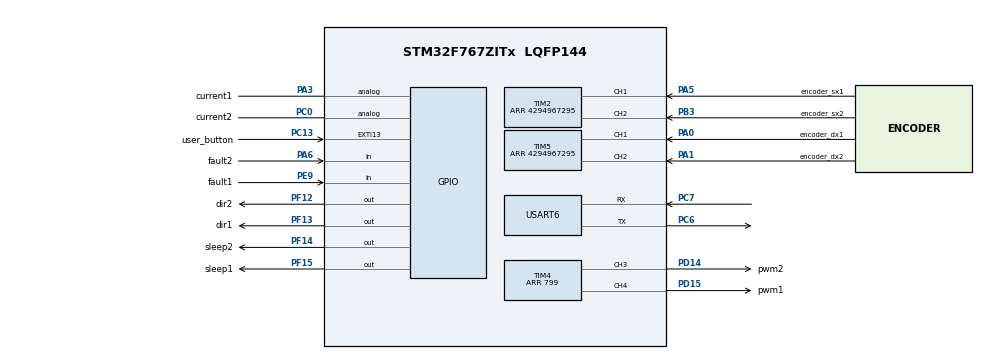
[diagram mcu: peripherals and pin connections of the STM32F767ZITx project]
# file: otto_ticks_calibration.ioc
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Mcu.Family=STM32F7
Mcu.Name=STM32F767ZITx
Mcu.Package=LQFP144
NVIC.EXTI15_10_IRQn=true\:0\:0\:false\:false\:true\:true\:true
NVIC.PriorityGroup=NVIC_PRIORITYGROUP_2
NVIC.TIM3_IRQn=true\:2\:1\:true\:true\:true\:1\:true\:true
NVIC.TIM6_DAC_IRQn=true\:2\:2\:true\:true\:true\:2\:true\:true
NVIC.USART6_IRQn=true\:1\:0\:true\:true\:true\:3\:true\:true
PA0/WKUP.GPIO_Label=encoder_dx1
PA0/WKUP.Signal=S_TIM5_CH1
PA1.GPIO_Label=encoder_dx2
PA1.Signal=S_TIM5_CH2
PA13.Mode=Serial_Wire
PA13.Signal=SYS_JTMS-SWDIO
PA14.Mode=Serial_Wire
PA14.Signal=SYS_JTCK-SWCLK
PA3.GPIO_Label=current1
PA3.Signal=GPIO_Analog
PA5.GPIO_Label=encoder_sx1
PA5.Signal=S_TIM2_CH1_ETR
PA6.GPIO_Label=fault2
PA6.Signal=GPIO_Input
PB3.GPIO_Label=encoder_sx2
PB3.Signal=S_TIM2_CH2
PC0.GPIO_Label=current2
PC0.Signal=GPIO_Analog
PC13.GPIO_Label=user_button
PC13.Signal=GPXTI13
PC6.Mode=Asynchronous
PC6.Signal=USART6_TX
PC7.Mode=Asynchronous
PC7.Signal=USART6_RX
PD14.GPIO_Label=pwm2
PD14.Signal=S_TIM4_CH3
PD15.GPIO_Label=pwm1
PD15.Signal=S_TIM4_CH4
PE9.GPIO_Label=fault1
PE9.Signal=GPIO_Input
PF12.GPIO_Label=dir2
PF12.Signal=GPIO_Output
PF13.GPIO_Label=dir1
PF13.Signal=GPIO_Output
PF14.GPIO_Label=sleep2
PF14.GPIO_ModeDefaultOutputPP=GPIO_MODE_OUTPUT_PP
PF14.GPIO_PuPd=GPIO_PULLUP
PF14.PinState=GPIO_PIN_SET
PF14.Signal=GPIO_Output
PF15.GPIO_Label=sleep1
PF15.GPIO_PuPd=GPIO_PULLUP
PF15.PinState=GPIO_PIN_SET
PF15.Signal=GPIO_Output
ProjectManager.HeapSize=0x200
ProjectManager.StackSize=0x400
ProjectManager.TargetToolchain=STM32CubeIDE
RCC.HSE_VALUE=25000000
RCC.HSI_VALUE=16000000
RCC.LSE_VALUE=32768
RCC.USBFreq_Value=96000000
RCC.VCOOutputFreq_Value=192000000
SH.S_TIM2_CH1_ETR.0=TIM2_CH1,Encoder_Interface
SH.S_TIM2_CH2.0=TIM2_CH2,Encoder_Interface
SH.S_TIM4_CH3.0=TIM4_CH3,PWM Generation3 CH3
SH.S_TIM4_CH4.0=TIM4_CH4,PWM Generation4 CH4
SH.S_TIM5_CH1.0=TIM5_CH1,Encoder_Interface
SH.S_TIM5_CH2.0=TIM5_CH2,Encoder_Interface
TIM2.EncoderMode=TIM_ENCODERMODE_TI12
TIM2.Period=4294967295
TIM3.Period=159
TIM3.Prescaler=999
TIM4.Channel-PWM\ Generation3\ CH3=TIM_CHANNEL_3
TIM4.Channel-PWM\ Generation4\ CH4=TIM_CHANNEL_4
TIM4.Period=799
TIM5.EncoderMode=TIM_ENCODERMODE_TI12
TIM5.Period=4294967295
TIM6.Period=799
TIM6.Prescaler=9999
USART6.Parity=PARITY_NONE
USART6.VirtualMode-Asynchronous=VM_ASYNC
USART6.WordLength=WORDLENGTH_8B
VP_TIM3_VS_ClockSourceINT.Mode=Internal
VP_TIM4_VS_ClockSourceINT.Mode=Internal
VP_TIM6_VS_ClockSourceINT.Mode=Enable_Timer
board=custom

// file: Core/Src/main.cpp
/* USER CODE BEGIN Header */
/**
 ******************************************************************************
 * @file           : main.c
 * @brief          : Main program body
 ******************************************************************************
 * @attention
 *
 * <h2><center>&copy; Copyright (c) 2019 STMicroelectronics.
 * All rights reserved.</center></h2>
 *
 * This software component is licensed by ST under BSD 3-Clause license,
 * the "License"; You may not use this file except in compliance with the
 * License. You may obtain a copy of the License at:
 *                        opensource.org/licenses/BSD-3-Clause
 *
 ******************************************************************************
 */
/* USER CODE END Header */

#include "main.h"

/* USER CODE BEGIN Includes */

#include "encoder.h"
#include "odometry.h"
#include "motor_controller.h"
#include "pid.h"
#include "communication_utils.h"
#include "constants.h"
/* USER CODE END Includes */

TIM_HandleTypeDef htim2;
TIM_HandleTypeDef htim3;
TIM_HandleTypeDef htim4;
TIM_HandleTypeDef htim5;
TIM_HandleTypeDef htim6;

UART_HandleTypeDef huart6;

/* USER CODE BEGIN PV */

//Odometry
Encoder right_encoder = Encoder(&htim5, RIGHT_WHEEL_CIRCUMFERENCE);
Encoder left_encoder = Encoder(&htim2, LEFT_TICKS_PER_METER);
Odometry odom = Odometry();
float left_velocity = 0;
float right_velocity = 0;

//PID
Pid left_pid(0, 0, 0);
Pid right_pid(0, 0, 0);
Pid cross_pid(0, 0, 0);
float left_setpoint;
float right_setpoint;
float cross_setpoint;
int left_dutycycle;
int right_dutycycle;

//MotorController
MotorController right_motor(sleep1_GPIO_Port,
sleep1_Pin,
                            dir1_GPIO_Port,
                            dir1_Pin,
                            &htim4,
                            TIM_CHANNEL_4);
MotorController left_motor(sleep2_GPIO_Port,
sleep2_Pin,
                           dir2_GPIO_Port,
                           dir2_Pin,
                           &htim4,
                           TIM_CHANNEL_3);

//Communication
uint8_t *tx_buffer;
uint8_t *rx_buffer;
velocity_msg input_msg;
ticks_msg output_msg;

//user button variables
int previous_millis = 0;
int current_millis = 0;
bool debounce = true;

//test stuff
float mode = 0;  //0 for setup, 1 go, 2 send data
int left_ticks = 0;
int right_ticks = 0;

/* USER CODE END PV */

void SystemClock_Config(void);
static void MX_GPIO_Init(void);
static void MX_TIM2_Init(void);
static void MX_TIM3_Init(void);
static void MX_TIM4_Init(void);
static void MX_TIM5_Init(void);
static void MX_USART6_UART_Init(void);
static void MX_TIM6_Init(void);
static void MX_NVIC_Init(void);

int main(void) {

  /* MCU Configuration--------------------------------------------------------*/

  /* Reset of all peripherals, Initializes the Flash interface and the Systick. */
  HAL_Init();

  /* Configure the system clock */
  SystemClock_Config();

  /* Initialize all configured peripherals */
  MX_GPIO_Init();
  MX_TIM2_Init();
  MX_TIM3_Init();
  MX_TIM4_Init();
  MX_TIM5_Init();
  MX_USART6_UART_Init();
  MX_TIM6_Init();

  /* Initialize interrupts */
  MX_NVIC_Init();
  /* USER CODE BEGIN 2 */

  left_encoder.Setup();
  right_encoder.Setup();

  left_motor.setup();
  right_motor.setup();
  left_motor.coast();
  right_motor.coast();

  left_pid.config(180, 200, 0);
  right_pid.config(185, 195, 0);
  cross_pid.config(50, 20, 0);

  tx_buffer = (uint8_t*) &output_msg;
  rx_buffer = (uint8_t*) &input_msg;

  //Enables UART RX interrupt
  HAL_UART_Receive_IT(&huart6, rx_buffer, 8);
  HAL_TIM_Base_Start_IT(&htim6);
  /* USER CODE END 2 */

  /* Infinite loop */
  while (1) {

  }
}

void SystemClock_Config(void) {
  RCC_OscInitTypeDef RCC_OscInitStruct = { 0 };
  RCC_ClkInitTypeDef RCC_ClkInitStruct = { 0 };
  RCC_PeriphCLKInitTypeDef PeriphClkInitStruct = { 0 };

  /** Configure the main internal regulator output voltage
   */
  __HAL_RCC_PWR_CLK_ENABLE();
  __HAL_PWR_VOLTAGESCALING_CONFIG(PWR_REGULATOR_VOLTAGE_SCALE3);
  /** Initializes the CPU, AHB and APB busses clocks
   */
  RCC_OscInitStruct.OscillatorType = RCC_OSCILLATORTYPE_HSI;
  RCC_OscInitStruct.HSIState = RCC_HSI_ON;
  RCC_OscInitStruct.HSICalibrationValue = RCC_HSICALIBRATION_DEFAULT;
  RCC_OscInitStruct.PLL.PLLState = RCC_PLL_NONE;
  if (HAL_RCC_OscConfig(&RCC_OscInitStruct) != HAL_OK) {
    Error_Handler();
  }
  /** Initializes the CPU, AHB and APB busses clocks
   */
  RCC_ClkInitStruct.ClockType = RCC_CLOCKTYPE_HCLK | RCC_CLOCKTYPE_SYSCLK
      | RCC_CLOCKTYPE_PCLK1 | RCC_CLOCKTYPE_PCLK2;
  RCC_ClkInitStruct.SYSCLKSource = RCC_SYSCLKSOURCE_HSI;
  RCC_ClkInitStruct.AHBCLKDivider = RCC_SYSCLK_DIV1;
  RCC_ClkInitStruct.APB1CLKDivider = RCC_HCLK_DIV1;
  RCC_ClkInitStruct.APB2CLKDivider = RCC_HCLK_DIV1;

  if (HAL_RCC_ClockConfig(&RCC_ClkInitStruct, FLASH_LATENCY_0) != HAL_OK) {
    Error_Handler();
  }
  PeriphClkInitStruct.PeriphClockSelection = RCC_PERIPHCLK_USART6;
  PeriphClkInitStruct.Usart6ClockSelection = RCC_USART6CLKSOURCE_PCLK2;
  if (HAL_RCCEx_PeriphCLKConfig(&PeriphClkInitStruct) != HAL_OK) {
    Error_Handler();
  }
}

/**
 * @brief NVIC Configuration.
 * @retval None
 */
static void MX_NVIC_Init(void) {
  /* TIM3_IRQn interrupt configuration */
  HAL_NVIC_SetPriority(TIM3_IRQn, 2, 1);
  HAL_NVIC_EnableIRQ(TIM3_IRQn);
  /* TIM6_DAC_IRQn interrupt configuration */
  HAL_NVIC_SetPriority(TIM6_DAC_IRQn, 2, 2);
  HAL_NVIC_EnableIRQ(TIM6_DAC_IRQn);
  /* USART6_IRQn interrupt configuration */
  HAL_NVIC_SetPriority(USART6_IRQn, 1, 0);
  HAL_NVIC_EnableIRQ(USART6_IRQn);
}

static void MX_TIM2_Init(void) {

  TIM_Encoder_InitTypeDef sConfig = { 0 };
  TIM_MasterConfigTypeDef sMasterConfig = { 0 };

  htim2.Instance = TIM2;
  htim2.Init.Prescaler = 0;
  htim2.Init.CounterMode = TIM_COUNTERMODE_UP;
  htim2.Init.Period = 4294967295;
  htim2.Init.ClockDivision = TIM_CLOCKDIVISION_DIV1;
  htim2.Init.AutoReloadPreload = TIM_AUTORELOAD_PRELOAD_DISABLE;
  sConfig.EncoderMode = TIM_ENCODERMODE_TI12;
  sConfig.IC1Polarity = TIM_ICPOLARITY_RISING;
  sConfig.IC1Selection = TIM_ICSELECTION_DIRECTTI;
  sConfig.IC1Prescaler = TIM_ICPSC_DIV1;
  sConfig.IC1Filter = 0;
  sConfig.IC2Polarity = TIM_ICPOLARITY_RISING;
  sConfig.IC2Selection = TIM_ICSELECTION_DIRECTTI;
  sConfig.IC2Prescaler = TIM_ICPSC_DIV1;
  sConfig.IC2Filter = 0;
  if (HAL_TIM_Encoder_Init(&htim2, &sConfig) != HAL_OK) {
    Error_Handler();
  }
  sMasterConfig.MasterOutputTrigger = TIM_TRGO_RESET;
  sMasterConfig.MasterSlaveMode = TIM_MASTERSLAVEMODE_DISABLE;
  if (HAL_TIMEx_MasterConfigSynchronization(&htim2, &sMasterConfig) != HAL_OK) {
    Error_Handler();
  }

}

static void MX_TIM3_Init(void) {

  TIM_ClockConfigTypeDef sClockSourceConfig = { 0 };
  TIM_MasterConfigTypeDef sMasterConfig = { 0 };

  htim3.Instance = TIM3;
  htim3.Init.Prescaler = 999;
  htim3.Init.CounterMode = TIM_COUNTERMODE_UP;
  htim3.Init.Period = 159;
  htim3.Init.ClockDivision = TIM_CLOCKDIVISION_DIV1;
  htim3.Init.AutoReloadPreload = TIM_AUTORELOAD_PRELOAD_DISABLE;
  if (HAL_TIM_Base_Init(&htim3) != HAL_OK) {
    Error_Handler();
  }
  sClockSourceConfig.ClockSource = TIM_CLOCKSOURCE_INTERNAL;
  if (HAL_TIM_ConfigClockSource(&htim3, &sClockSourceConfig) != HAL_OK) {
    Error_Handler();
  }
  sMasterConfig.MasterOutputTrigger = TIM_TRGO_RESET;
  sMasterConfig.MasterSlaveMode = TIM_MASTERSLAVEMODE_DISABLE;
  if (HAL_TIMEx_MasterConfigSynchronization(&htim3, &sMasterConfig) != HAL_OK) {
    Error_Handler();
  }

}

static void MX_TIM4_Init(void) {

  TIM_ClockConfigTypeDef sClockSourceConfig = { 0 };
  TIM_MasterConfigTypeDef sMasterConfig = { 0 };
  TIM_OC_InitTypeDef sConfigOC = { 0 };

  htim4.Instance = TIM4;
  htim4.Init.Prescaler = 0;
  htim4.Init.CounterMode = TIM_COUNTERMODE_UP;
  htim4.Init.Period = 799;
  htim4.Init.ClockDivision = TIM_CLOCKDIVISION_DIV1;
  htim4.Init.AutoReloadPreload = TIM_AUTORELOAD_PRELOAD_DISABLE;
  if (HAL_TIM_Base_Init(&htim4) != HAL_OK) {
    Error_Handler();
  }
  sClockSourceConfig.ClockSource = TIM_CLOCKSOURCE_INTERNAL;
  if (HAL_TIM_ConfigClockSource(&htim4, &sClockSourceConfig) != HAL_OK) {
    Error_Handler();
  }
  if (HAL_TIM_PWM_Init(&htim4) != HAL_OK) {
    Error_Handler();
  }
  sMasterConfig.MasterOutputTrigger = TIM_TRGO_RESET;
  sMasterConfig.MasterSlaveMode = TIM_MASTERSLAVEMODE_DISABLE;
  if (HAL_TIMEx_MasterConfigSynchronization(&htim4, &sMasterConfig) != HAL_OK) {
    Error_Handler();
  }
  sConfigOC.OCMode = TIM_OCMODE_PWM1;
  sConfigOC.Pulse = 0;
  sConfigOC.OCPolarity = TIM_OCPOLARITY_HIGH;
  sConfigOC.OCFastMode = TIM_OCFAST_DISABLE;
  if (HAL_TIM_PWM_ConfigChannel(&htim4, &sConfigOC, TIM_CHANNEL_3) != HAL_OK) {
    Error_Handler();
  }
  if (HAL_TIM_PWM_ConfigChannel(&htim4, &sConfigOC, TIM_CHANNEL_4) != HAL_OK) {
    Error_Handler();
  }
  HAL_TIM_MspPostInit(&htim4);

}

static void MX_TIM5_Init(void) {

  TIM_Encoder_InitTypeDef sConfig = { 0 };
  TIM_MasterConfigTypeDef sMasterConfig = { 0 };

  htim5.Instance = TIM5;
  htim5.Init.Prescaler = 0;
  htim5.Init.CounterMode = TIM_COUNTERMODE_UP;
  htim5.Init.Period = 4294967295;
  htim5.Init.ClockDivision = TIM_CLOCKDIVISION_DIV1;
  htim5.Init.AutoReloadPreload = TIM_AUTORELOAD_PRELOAD_DISABLE;
  sConfig.EncoderMode = TIM_ENCODERMODE_TI12;
  sConfig.IC1Polarity = TIM_ICPOLARITY_RISING;
  sConfig.IC1Selection = TIM_ICSELECTION_DIRECTTI;
  sConfig.IC1Prescaler = TIM_ICPSC_DIV1;
  sConfig.IC1Filter = 0;
  sConfig.IC2Polarity = TIM_ICPOLARITY_RISING;
  sConfig.IC2Selection = TIM_ICSELECTION_DIRECTTI;
  sConfig.IC2Prescaler = TIM_ICPSC_DIV1;
  sConfig.IC2Filter = 0;
  if (HAL_TIM_Encoder_Init(&htim5, &sConfig) != HAL_OK) {
    Error_Handler();
  }
  sMasterConfig.MasterOutputTrigger = TIM_TRGO_RESET;
  sMasterConfig.MasterSlaveMode = TIM_MASTERSLAVEMODE_DISABLE;
  if (HAL_TIMEx_MasterConfigSynchronization(&htim5, &sMasterConfig) != HAL_OK) {
    Error_Handler();
  }

}

static void MX_TIM6_Init(void) {

  TIM_MasterConfigTypeDef sMasterConfig = { 0 };

  htim6.Instance = TIM6;
  htim6.Init.Prescaler = 9999;
  htim6.Init.CounterMode = TIM_COUNTERMODE_UP;
  htim6.Init.Period = 799;
  htim6.Init.AutoReloadPreload = TIM_AUTORELOAD_PRELOAD_DISABLE;
  if (HAL_TIM_Base_Init(&htim6) != HAL_OK) {
    Error_Handler();
  }
  sMasterConfig.MasterOutputTrigger = TIM_TRGO_RESET;
  sMasterConfig.MasterSlaveMode = TIM_MASTERSLAVEMODE_DISABLE;
  if (HAL_TIMEx_MasterConfigSynchronization(&htim6, &sMasterConfig) != HAL_OK) {
    Error_Handler();
  }

}

static void MX_USART6_UART_Init(void) {

  huart6.Instance = USART6;
  huart6.Init.BaudRate = 115200;
  huart6.Init.WordLength = UART_WORDLENGTH_8B;
  huart6.Init.StopBits = UART_STOPBITS_1;
  huart6.Init.Parity = UART_PARITY_NONE;
  huart6.Init.Mode = UART_MODE_TX_RX;
  huart6.Init.HwFlowCtl = UART_HWCONTROL_NONE;
  huart6.Init.OverSampling = UART_OVERSAMPLING_16;
  huart6.Init.OneBitSampling = UART_ONE_BIT_SAMPLE_DISABLE;
  huart6.AdvancedInit.AdvFeatureInit = UART_ADVFEATURE_NO_INIT;
  if (HAL_UART_Init(&huart6) != HAL_OK) {
    Error_Handler();
  }

}

static void MX_GPIO_Init(void) {
  GPIO_InitTypeDef GPIO_InitStruct = { 0 };

  /* GPIO Ports Clock Enable */
  __HAL_RCC_GPIOC_CLK_ENABLE();
  __HAL_RCC_GPIOA_CLK_ENABLE();
  __HAL_RCC_GPIOF_CLK_ENABLE();
  __HAL_RCC_GPIOE_CLK_ENABLE();
  __HAL_RCC_GPIOD_CLK_ENABLE();
  __HAL_RCC_GPIOB_CLK_ENABLE();

  /*Configure GPIO pin Output Level */
  HAL_GPIO_WritePin(GPIOF, dir2_Pin | dir1_Pin, GPIO_PIN_RESET);

  /*Configure GPIO pin Output Level */
  HAL_GPIO_WritePin(GPIOF, sleep2_Pin | sleep1_Pin, GPIO_PIN_SET);

  /*Configure GPIO pin : user_button_Pin */
  GPIO_InitStruct.Pin = user_button_Pin;
  GPIO_InitStruct.Mode = GPIO_MODE_IT_RISING;
  GPIO_InitStruct.Pull = GPIO_NOPULL;
  HAL_GPIO_Init(user_button_GPIO_Port, &GPIO_InitStruct);

  /*Configure GPIO pin : current2_Pin */
  GPIO_InitStruct.Pin = current2_Pin;
  GPIO_InitStruct.Mode = GPIO_MODE_ANALOG;
  GPIO_InitStruct.Pull = GPIO_NOPULL;
  HAL_GPIO_Init(current2_GPIO_Port, &GPIO_InitStruct);

  /*Configure GPIO pin : current1_Pin */
  GPIO_InitStruct.Pin = current1_Pin;
  GPIO_InitStruct.Mode = GPIO_MODE_ANALOG;
  GPIO_InitStruct.Pull = GPIO_NOPULL;
  HAL_GPIO_Init(current1_GPIO_Port, &GPIO_InitStruct);

  /*Configure GPIO pin : fault2_Pin */
  GPIO_InitStruct.Pin = fault2_Pin;
  GPIO_InitStruct.Mode = GPIO_MODE_INPUT;
  GPIO_InitStruct.Pull = GPIO_NOPULL;
  HAL_GPIO_Init(fault2_GPIO_Port, &GPIO_InitStruct);

  /*Configure GPIO pins : dir2_Pin dir1_Pin */
  GPIO_InitStruct.Pin = dir2_Pin | dir1_Pin;
  GPIO_InitStruct.Mode = GPIO_MODE_OUTPUT_PP;
  GPIO_InitStruct.Pull = GPIO_NOPULL;
  GPIO_InitStruct.Speed = GPIO_SPEED_FREQ_LOW;
  HAL_GPIO_Init(GPIOF, &GPIO_InitStruct);

  /*Configure GPIO pins : sleep2_Pin sleep1_Pin */
  GPIO_InitStruct.Pin = sleep2_Pin | sleep1_Pin;
  GPIO_InitStruct.Mode = GPIO_MODE_OUTPUT_PP;
  GPIO_InitStruct.Pull = GPIO_PULLUP;
  GPIO_InitStruct.Speed = GPIO_SPEED_FREQ_LOW;
  HAL_GPIO_Init(GPIOF, &GPIO_InitStruct);

  /*Configure GPIO pin : fault1_Pin */
  GPIO_InitStruct.Pin = fault1_Pin;
  GPIO_InitStruct.Mode = GPIO_MODE_INPUT;
  GPIO_InitStruct.Pull = GPIO_NOPULL;
  HAL_GPIO_Init(fault1_GPIO_Port, &GPIO_InitStruct);

  /* EXTI interrupt init*/
  HAL_NVIC_SetPriority(EXTI15_10_IRQn, 0, 0);
  HAL_NVIC_EnableIRQ(EXTI15_10_IRQn);

}

/* USER CODE BEGIN 4 */
void HAL_TIM_PeriodElapsedCallback(TIM_HandleTypeDef *htim) {

  //TIMER 100Hz PID control
  if (htim->Instance == TIM3) {

    left_pid.set(0.5);
    right_pid.set(0.5);
    cross_pid.set(0);

//    left_velocity = left_encoder.GetLinearVelocity();
//    left_dutycycle = left_pid.update(left_velocity);
//    left_motor.set_speed(left_dutycycle);

    right_velocity = right_encoder.GetLinearVelocity();
    right_dutycycle = right_pid.update(right_velocity);
    right_motor.set_speed(right_dutycycle);

//    float difference = left_velocity - right_velocity;
//
//    int cross_dutycycle = cross_pid.update(difference);
//
//    left_dutycycle += cross_dutycycle;
//    right_dutycycle -= cross_dutycycle;

    HAL_UART_Transmit(&huart6, (uint8_t*) &right_velocity, 4, 100);

  }

  //TIMER 2Hz Transmit
  if (htim->Instance == TIM6) {
  }
}

void HAL_UART_RxCpltCallback(UART_HandleTypeDef *UartHandle) {

  odom.UpdateValues(input_msg.linear_velocity, input_msg.angular_velocity);

  left_setpoint = odom.GetLeftVelocity();
  right_setpoint = odom.GetRightVelocity();

  left_pid.set(left_setpoint);
  right_pid.set(right_setpoint);

  cross_setpoint = left_setpoint - right_setpoint;
  cross_pid.set(cross_setpoint);

  HAL_UART_Receive_IT(&huart6, rx_buffer, 8);

}

void HAL_GPIO_EXTI_Callback(uint16_t GPIO_Pin) {
  //Blue user button
  if (GPIO_Pin == GPIO_PIN_13) {
    previous_millis = current_millis;
    current_millis = HAL_GetTick();
    if (current_millis - previous_millis < 500)
      debounce = false;
    else
      debounce = true;
    if (mode == 0 && debounce) {
      mode = 1;
      //Enables TIM3 interrupt (used for PID control)
      HAL_TIM_Base_Start_IT(&htim3);
    } else if (debounce) {
      mode = 2;
      output_msg.left_ticks = left_ticks;
      output_msg.right_ticks = right_ticks;
      HAL_UART_Transmit(&huart6, tx_buffer, 8, 100);
      output_msg.left_ticks = 0;
      output_msg.right_ticks = 0;
    }
  }
}
/* USER CODE END 4 */

void Error_Handler(void) {
}

/************************ (C) COPYRIGHT STMicroelectronics *****END OF FILE****/
